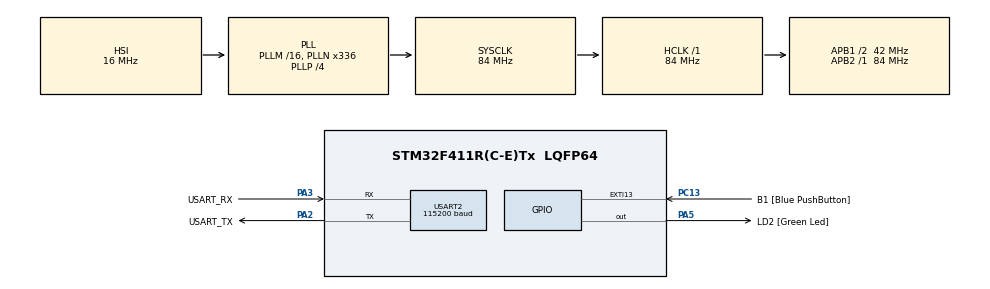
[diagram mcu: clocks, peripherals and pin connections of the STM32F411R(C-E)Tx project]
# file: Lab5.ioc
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Dma.Request0=USART2_RX
Dma.Request1=USART2_TX
Dma.USART2_RX.0.Direction=DMA_PERIPH_TO_MEMORY
Dma.USART2_RX.0.FIFOMode=DMA_FIFOMODE_DISABLE
Dma.USART2_RX.0.Instance=DMA1_Stream5
Dma.USART2_RX.0.MemDataAlignment=DMA_MDATAALIGN_BYTE
Dma.USART2_RX.0.MemInc=DMA_MINC_ENABLE
Dma.USART2_RX.0.Mode=DMA_CIRCULAR
Dma.USART2_RX.0.PeriphDataAlignment=DMA_PDATAALIGN_BYTE
Dma.USART2_RX.0.PeriphInc=DMA_PINC_DISABLE
Dma.USART2_RX.0.Priority=DMA_PRIORITY_LOW
Dma.USART2_TX.1.Direction=DMA_MEMORY_TO_PERIPH
Dma.USART2_TX.1.FIFOMode=DMA_FIFOMODE_DISABLE
Dma.USART2_TX.1.Instance=DMA1_Stream6
Dma.USART2_TX.1.MemDataAlignment=DMA_MDATAALIGN_BYTE
Dma.USART2_TX.1.MemInc=DMA_MINC_ENABLE
Dma.USART2_TX.1.Mode=DMA_NORMAL
Dma.USART2_TX.1.PeriphDataAlignment=DMA_PDATAALIGN_BYTE
Dma.USART2_TX.1.PeriphInc=DMA_PINC_DISABLE
Dma.USART2_TX.1.Priority=DMA_PRIORITY_LOW
Mcu.Family=STM32F4
Mcu.Name=STM32F411R(C-E)Tx
Mcu.Package=LQFP64
NVIC.DMA1_Stream5_IRQn=true\:0\:0\:false\:false\:true\:false\:true\:true
NVIC.DMA1_Stream6_IRQn=true\:0\:0\:false\:false\:true\:false\:true\:true
NVIC.PriorityGroup=NVIC_PRIORITYGROUP_0
NVIC.USART2_IRQn=true\:0\:0\:false\:false\:true\:true\:true\:true
PA13.GPIO_Label=TMS
PA13.Mode=Serial_Wire
PA13.Signal=SYS_JTMS-SWDIO
PA14.GPIO_Label=TCK
PA14.Mode=Serial_Wire
PA14.Signal=SYS_JTCK-SWCLK
PA2.GPIO_Label=USART_TX
PA2.Mode=Asynchronous
PA2.Signal=USART2_TX
PA3.GPIO_Label=USART_RX
PA3.Mode=Asynchronous
PA3.Signal=USART2_RX
PA5.GPIO_Label=LD2 [Green Led]
PA5.Signal=GPIO_Output
PB3.GPIO_Label=SWO
PB3.Signal=SYS_JTDO-SWO
PC13-ANTI_TAMP.GPIO_Label=B1 [Blue PushButton]
PC13-ANTI_TAMP.GPIO_ModeDefaultEXTI=GPIO_MODE_IT_FALLING
PC13-ANTI_TAMP.Signal=GPXTI13
PC14-OSC32_IN.Mode=LSE-External-Oscillator
PC14-OSC32_IN.Signal=RCC_OSC32_IN
PC15-OSC32_OUT.Mode=LSE-External-Oscillator
PC15-OSC32_OUT.Signal=RCC_OSC32_OUT
PH0\ -\ OSC_IN.Mode=HSE-External-Clock-Source
PH0\ -\ OSC_IN.Signal=RCC_OSC_IN
PH1\ -\ OSC_OUT.Mode=HSE-External-Clock-Source
PH1\ -\ OSC_OUT.Signal=RCC_OSC_OUT
ProjectManager.HeapSize=0x200
ProjectManager.StackSize=0x400
ProjectManager.TargetToolchain=STM32CubeIDE
RCC.48MHZClocksFreq_Value=84000000
RCC.AHBFreq_Value=84000000
RCC.APB1CLKDivider=RCC_HCLK_DIV2
RCC.APB1Freq_Value=42000000
RCC.APB1TimFreq_Value=84000000
RCC.APB2Freq_Value=84000000
RCC.APB2TimFreq_Value=84000000
RCC.CortexFreq_Value=84000000
RCC.FLatency-AdvancedSettings=FLASH_LATENCY_2
RCC.HCLKFreq_Value=84000000
RCC.HSE_VALUE=8000000
RCC.HSI_VALUE=16000000
RCC.PLLN=336
RCC.PLLP=RCC_PLLP_DIV4
RCC.SYSCLKFreq_VALUE=84000000
RCC.SYSCLKSource=RCC_SYSCLKSOURCE_PLLCLK
RCC.VCOOutputFreq_Value=336000000
USART2.BaudRate=115200
USART2.VirtualMode=VM_ASYNC
board=NUCLEO-F411RE

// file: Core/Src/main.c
/* USER CODE BEGIN Header */
/**
  ******************************************************************************
  * @file           : main.c
  * @brief          : Main program body
  ******************************************************************************
  * @attention
  *
  * Copyright (c) 2023 STMicroelectronics.
  * All rights reserved.
  *
  * This software is licensed under terms that can be found in the LICENSE file
  * in the root directory of this software component.
  * If no LICENSE file comes with this software, it is provided AS-IS.
  *
  ******************************************************************************
  */
/* USER CODE END Header */
#include "main.h"

/* USER CODE BEGIN Includes */
#include "stdio.h"
#include "string.h"
/* USER CODE END Includes */

UART_HandleTypeDef huart2;
DMA_HandleTypeDef hdma_usart2_rx;
DMA_HandleTypeDef hdma_usart2_tx;

/* USER CODE BEGIN PV */
uint8_t RxBuffer[20];
uint8_t TxBuffer[20];
int State = 0;
/* USER CODE END PV */

void SystemClock_Config(void);
static void MX_GPIO_Init(void);
static void MX_DMA_Init(void);
static void MX_USART2_UART_Init(void);
/* USER CODE BEGIN PFP */
void UARTInterruptConfig();
void Task();
/* USER CODE END PFP */

int main(void)
{

  /* MCU Configuration--------------------------------------------------------*/

  /* Reset of all peripherals, Initializes the Flash interface and the Systick. */
  HAL_Init();

  /* Configure the system clock */
  SystemClock_Config();

  /* Initialize all configured peripherals */
  MX_GPIO_Init();
  MX_DMA_Init();
  MX_USART2_UART_Init();
  /* USER CODE BEGIN 2 */
  uint8_t text[] = "Menu\r\n0: LED Control\r\n  a: Speed Up +1Hz\r\n  s: Speed Down -1Hz\r\n  d: On/Off\r\n  x: Back\r\n1: Button Status\r\n  x: Back\r\n";
  HAL_UART_Transmit(&huart2, text, 200, 10);

  UARTInterruptConfig();
  /* USER CODE END 2 */

  /* Infinite loop */
  while (1)
  {

    /* USER CODE BEGIN 3 */
	  static uint32_t timestamp = 0;
	  if(HAL_GetTick() >= timestamp)
	  {
		  timestamp = HAL_GetTick()+100;
		  HAL_GPIO_TogglePin(LD2_GPIO_Port, LD2_Pin);
		  Task();

	  }
  }
  /* USER CODE END 3 */
}

void SystemClock_Config(void)
{
  RCC_OscInitTypeDef RCC_OscInitStruct = {0};
  RCC_ClkInitTypeDef RCC_ClkInitStruct = {0};

  /** Configure the main internal regulator output voltage
  */
  __HAL_RCC_PWR_CLK_ENABLE();
  __HAL_PWR_VOLTAGESCALING_CONFIG(PWR_REGULATOR_VOLTAGE_SCALE1);

  /** Initializes the RCC Oscillators according to the specified parameters
  * in the RCC_OscInitTypeDef structure.
  */
  RCC_OscInitStruct.OscillatorType = RCC_OSCILLATORTYPE_HSI;
  RCC_OscInitStruct.HSIState = RCC_HSI_ON;
  RCC_OscInitStruct.HSICalibrationValue = RCC_HSICALIBRATION_DEFAULT;
  RCC_OscInitStruct.PLL.PLLState = RCC_PLL_ON;
  RCC_OscInitStruct.PLL.PLLSource = RCC_PLLSOURCE_HSI;
  RCC_OscInitStruct.PLL.PLLM = 16;
  RCC_OscInitStruct.PLL.PLLN = 336;
  RCC_OscInitStruct.PLL.PLLP = RCC_PLLP_DIV4;
  RCC_OscInitStruct.PLL.PLLQ = 4;
  if (HAL_RCC_OscConfig(&RCC_OscInitStruct) != HAL_OK)
  {
    Error_Handler();
  }

  /** Initializes the CPU, AHB and APB buses clocks
  */
  RCC_ClkInitStruct.ClockType = RCC_CLOCKTYPE_HCLK|RCC_CLOCKTYPE_SYSCLK
                              |RCC_CLOCKTYPE_PCLK1|RCC_CLOCKTYPE_PCLK2;
  RCC_ClkInitStruct.SYSCLKSource = RCC_SYSCLKSOURCE_PLLCLK;
  RCC_ClkInitStruct.AHBCLKDivider = RCC_SYSCLK_DIV1;
  RCC_ClkInitStruct.APB1CLKDivider = RCC_HCLK_DIV2;
  RCC_ClkInitStruct.APB2CLKDivider = RCC_HCLK_DIV1;

  if (HAL_RCC_ClockConfig(&RCC_ClkInitStruct, FLASH_LATENCY_2) != HAL_OK)
  {
    Error_Handler();
  }
}

static void MX_USART2_UART_Init(void)
{

  huart2.Instance = USART2;
  huart2.Init.BaudRate = 115200;
  huart2.Init.WordLength = UART_WORDLENGTH_8B;
  huart2.Init.StopBits = UART_STOPBITS_1;
  huart2.Init.Parity = UART_PARITY_NONE;
  huart2.Init.Mode = UART_MODE_TX_RX;
  huart2.Init.HwFlowCtl = UART_HWCONTROL_NONE;
  huart2.Init.OverSampling = UART_OVERSAMPLING_16;
  if (HAL_UART_Init(&huart2) != HAL_OK)
  {
    Error_Handler();
  }

}

static void MX_DMA_Init(void)
{

  /* DMA controller clock enable */
  __HAL_RCC_DMA1_CLK_ENABLE();

  /* DMA interrupt init */
  /* DMA1_Stream5_IRQn interrupt configuration */
  HAL_NVIC_SetPriority(DMA1_Stream5_IRQn, 0, 0);
  HAL_NVIC_EnableIRQ(DMA1_Stream5_IRQn);
  /* DMA1_Stream6_IRQn interrupt configuration */
  HAL_NVIC_SetPriority(DMA1_Stream6_IRQn, 0, 0);
  HAL_NVIC_EnableIRQ(DMA1_Stream6_IRQn);

}

static void MX_GPIO_Init(void)
{
  GPIO_InitTypeDef GPIO_InitStruct = {0};

  /* GPIO Ports Clock Enable */
  __HAL_RCC_GPIOC_CLK_ENABLE();
  __HAL_RCC_GPIOH_CLK_ENABLE();
  __HAL_RCC_GPIOA_CLK_ENABLE();
  __HAL_RCC_GPIOB_CLK_ENABLE();

  /*Configure GPIO pin Output Level */
  HAL_GPIO_WritePin(LD2_GPIO_Port, LD2_Pin, GPIO_PIN_RESET);

  /*Configure GPIO pin : B1_Pin */
  GPIO_InitStruct.Pin = B1_Pin;
  GPIO_InitStruct.Mode = GPIO_MODE_IT_FALLING;
  GPIO_InitStruct.Pull = GPIO_NOPULL;
  HAL_GPIO_Init(B1_GPIO_Port, &GPIO_InitStruct);

  /*Configure GPIO pin : LD2_Pin */
  GPIO_InitStruct.Pin = LD2_Pin;
  GPIO_InitStruct.Mode = GPIO_MODE_OUTPUT_PP;
  GPIO_InitStruct.Pull = GPIO_NOPULL;
  GPIO_InitStruct.Speed = GPIO_SPEED_FREQ_LOW;
  HAL_GPIO_Init(LD2_GPIO_Port, &GPIO_InitStruct);

}

/* USER CODE BEGIN 4 */
void UARTInterruptConfig()
{
	HAL_UART_Receive_IT(&huart2, RxBuffer, 1);
}

void HAL_UART_RxCpltCallback(UART_HandleTypeDef *huart)
{
	if(huart == &huart2)
	{
		RxBuffer[1] = '\0';

		sprintf((char*)TxBuffer,"Received : %s\r\n",RxBuffer);
		HAL_UART_Transmit_IT(&huart2, TxBuffer, strlen((char*)TxBuffer));

		HAL_UART_Receive_IT(&huart2, RxBuffer, 1);
	}
}

void Task()
{
	switch(State)
	{
		default:
		case 0:
			if(RxBuffer[0] == 48){State = 1;} //0
			else if(RxBuffer[0] == 49){State = 2;} //1
		break;
		case 1:
			if(RxBuffer[0] == 97) //a
			{

				State = 1;
			}
			else if(RxBuffer[0] == 115) //s
			{

				State = 1;
			}
			else if(RxBuffer[0] == 100) //d
			{

				State = 1;
			}
			else if(RxBuffer[0] == 120) //x
			{

				State = 0;
			}
		break;
		case 2:

			if(RxBuffer[0] == 120) //x
			{

				State = 0;
			}
		break;
	}
}

/* USER CODE END 4 */

void Error_Handler(void)
{
  __disable_irq();
  while (1)
  {
  }
}
